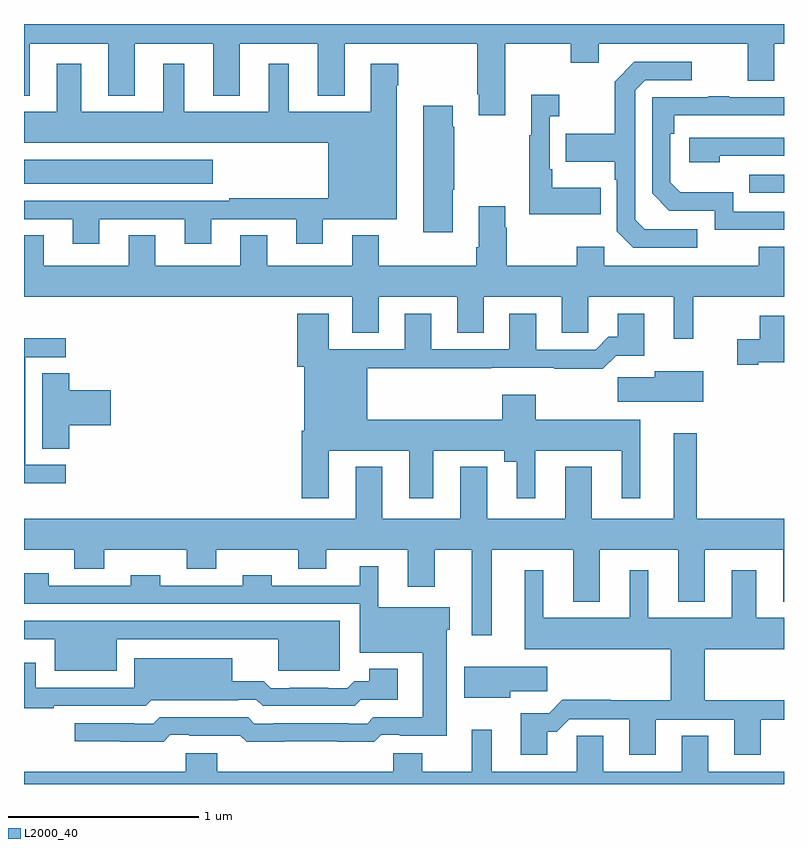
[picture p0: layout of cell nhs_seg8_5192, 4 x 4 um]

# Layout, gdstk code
import gdstk
lib = gdstk.Library(unit=1e-6, precision=1e-09)
def R(c, l, rs):  # rectangles x0, y0, x1, y1
    for r in rs: c.add(gdstk.rectangle(r[:2], r[2:], *l))
def P(c, l, *ps):  # polygons
    for p in ps: c.add(gdstk.Polygon(p, *l))
L2000_40 = (2000, 40)

nhs_seg8_5192 = lib.new_cell('nhs_seg8_5192')
R(nhs_seg8_5192, L2000_40, [(426.817,1153.011,427,1153.107), (423,1153.058,423.994,1153.186)])
P(nhs_seg8_5192, L2000_40, [(426.809,1153.602),(426.949,1153.602),(426.949,1153.796),(427,1153.796),(427,1153.9),(423,1153.9),(423,1153.523),(423.031,1153.523),(423.031,1153.796),(423.443,1153.796),(423.443,1153.523),(423.583,1153.523),(423.583,1153.796),(423.995,1153.796),(423.995,1153.523),(424.135,1153.523),(424.135,1153.796),(424.547,1153.796),(424.547,1153.523),(424.687,1153.523),(424.687,1153.796),(425.386,1153.796),(425.386,1153.531),(425.393,1153.531),(425.393,1153.419),(425.533,1153.419),(425.533,1153.796),(425.878,1153.796),(425.878,1153.697),(426.025,1153.697),(426.025,1153.796),(426.809,1153.796)],
  [(426.544,1152.819),(426.267,1152.819),(426.216,1152.87),(426.216,1153.551),(426.27,1153.605),(426.514,1153.605),(426.514,1153.701),(426.213,1153.701),(426.108,1153.595),(426.108,1153.323),(425.851,1153.323),(425.851,1153.175),(426.108,1153.175),(426.108,1153.079),(426.12,1153.079),(426.12,1152.81),(426.207,1152.723),(426.544,1152.723)],
  [(423.397,1152.873),(423.845,1152.873),(423.845,1152.744),(423.985,1152.744),(423.985,1152.873),(424.433,1152.873),(424.433,1152.744),(424.573,1152.744),(424.573,1152.872),(424.963,1152.872),(424.963,1153.577),(424.971,1153.577),(424.971,1153.69),(424.826,1153.69),(424.826,1153.438),(424.393,1153.438),(424.393,1153.69),(424.289,1153.69),(424.289,1153.438),(423.844,1153.438),(423.844,1153.69),(423.734,1153.69),(423.734,1153.438),(423.301,1153.438),(423.301,1153.69),(423.173,1153.69),(423.173,1153.438),(423,1153.438),(423,1153.274),(424.601,1153.274),(424.601,1152.982),(424.081,1152.982),(424.081,1152.969),(423,1152.969),(423,1152.873),(423.257,1152.873),(423.257,1152.744),(423.397,1152.744)],
  [(426.035,1153.039),(425.779,1153.039),(425.779,1153.135),(425.766,1153.135),(425.766,1153.415),(425.818,1153.415),(425.818,1153.528),(425.669,1153.528),(425.669,1153.315),(425.658,1153.315),(425.658,1152.899),(426.035,1152.899)],
  [(427,1152.912),(426.732,1152.912),(426.732,1153.015),(426.455,1153.015),(426.402,1153.068),(426.402,1153.322),(426.422,1153.322),(426.422,1153.419),(427,1153.419),(427,1153.515),(426.713,1153.515),(426.713,1153.52),(426.601,1153.52),(426.601,1153.515),(426.306,1153.515),(426.306,1153.008),(426.396,1152.918),(426.636,1152.918),(426.636,1152.816),(427,1152.816)],
  [(425.257,1153.027),(425.265,1153.027),(425.265,1153.358),(425.257,1153.358),(425.257,1153.471),(425.102,1153.471),(425.102,1152.804),(425.257,1152.804)],
  [(426.662,1153.206),(427,1153.206),(427,1153.302),(426.501,1153.302),(426.501,1153.172),(426.662,1153.172)],
  [(426.523,1152.464),(427,1152.464),(427,1152.727),(426.868,1152.727),(426.868,1152.628),(426.054,1152.628),(426.054,1152.727),(425.908,1152.727),(425.908,1152.628),(425.541,1152.628),(425.541,1152.827),(425.533,1152.827),(425.533,1152.94),(425.393,1152.94),(425.393,1152.724),(425.381,1152.724),(425.381,1152.628),(424.867,1152.628),(424.867,1152.787),(424.727,1152.787),(424.727,1152.628),(424.279,1152.628),(424.279,1152.788),(424.139,1152.788),(424.139,1152.628),(423.691,1152.628),(423.691,1152.788),(423.551,1152.788),(423.551,1152.628),(423.103,1152.628),(423.103,1152.788),(423,1152.788),(423,1152.464),(424.727,1152.464),(424.727,1152.274),(424.867,1152.274),(424.867,1152.464),(425.279,1152.464),(425.279,1152.274),(425.419,1152.274),(425.419,1152.464),(425.831,1152.464),(425.831,1152.274),(425.97,1152.274),(425.97,1152.464),(426.419,1152.464),(426.419,1152.243),(426.523,1152.243)],
  [(424.603,1151.654),(425.027,1151.654),(425.027,1151.403),(425.155,1151.403),(425.155,1151.654),(425.528,1151.654),(425.528,1151.597),(425.594,1151.597),(425.594,1151.403),(425.692,1151.403),(425.692,1151.654),(426.146,1151.654),(426.146,1151.403),(426.244,1151.403),(426.244,1151.818),(425.694,1151.818),(425.694,1151.95),(425.516,1151.95),(425.516,1151.818),(424.807,1151.818),(424.807,1152.088),(425.459,1152.088),(425.459,1152.092),(425.791,1152.092),(425.791,1152.086),(426.047,1152.086),(426.116,1152.155),(426.265,1152.155),(426.265,1152.376),(426.125,1152.376),(426.125,1152.253),(426.076,1152.253),(426.009,1152.186),(425.695,1152.186),(425.695,1152.376),(425.555,1152.376),(425.555,1152.189),(425.143,1152.189),(425.143,1152.376),(425.003,1152.376),(425.003,1152.189),(424.603,1152.189),(424.603,1152.376),(424.439,1152.376),(424.439,1152.096),(424.475,1152.096),(424.475,1151.758),(424.463,1151.758),(424.463,1151.403),(424.603,1151.403)],
  [(426.865,1152.119),(427,1152.119),(427,1152.364),(426.872,1152.364),(426.872,1152.241),(426.753,1152.241),(426.753,1152.107),(426.865,1152.107)],
  [(423.22,1151.58),(423.006,1151.58),(423.006,1152.147),(423.22,1152.147),(423.22,1152.246),(423,1152.246),(423,1151.484),(423.22,1151.484)],
  [(426.574,1152.073),(426.32,1152.073),(426.32,1152.041),(426.126,1152.041),(426.126,1151.912),(426.574,1151.912)],
  [(423.239,1151.789),(423.457,1151.789),(423.457,1151.972),(423.239,1151.972),(423.239,1152.062),(423.095,1152.062),(423.095,1151.665),(423.239,1151.665)],
  [(425.461,1151.132),(425.891,1151.132),(425.891,1150.859),(426.031,1150.859),(426.031,1151.132),(426.443,1151.132),(426.443,1150.859),(426.583,1150.859),(426.583,1151.132),(426.995,1151.132),(426.995,1150.859),(427,1150.859),(427,1151.296),(426.541,1151.296),(426.541,1151.746),(426.419,1151.746),(426.419,1151.296),(425.989,1151.296),(425.989,1151.569),(425.849,1151.569),(425.849,1151.296),(425.437,1151.296),(425.437,1151.569),(425.297,1151.569),(425.297,1151.296),(424.885,1151.296),(424.885,1151.569),(424.745,1151.569),(424.745,1151.296),(423,1151.296),(423,1151.132),(423.265,1151.132),(423.265,1151.033),(423.423,1151.033),(423.423,1151.132),(423.856,1151.132),(423.856,1151.033),(424.011,1151.033),(424.011,1151.132),(424.444,1151.132),(424.444,1151.033),(424.591,1151.033),(424.591,1151.132),(425.021,1151.132),(425.021,1150.938),(425.161,1150.938),(425.161,1151.132),(425.357,1151.132),(425.357,1150.683),(425.461,1150.683)],
  [(423.771,1150.158),(423.871,1150.158),(423.871,1150.154),(424.139,1150.154),(424.172,1150.122),(424.37,1150.122),(424.37,1150.124),(424.648,1150.124),(424.648,1150.122),(424.843,1150.122),(424.879,1150.158),(424.978,1150.158),(424.978,1150.155),(425.224,1150.155),(425.224,1150.713),(425.242,1150.713),(425.242,1150.831),(424.864,1150.831),(424.864,1151.047),(424.766,1151.047),(424.766,1150.944),(424.305,1150.944),(424.305,1150.999),(424.15,1150.999),(424.15,1150.944),(423.717,1150.944),(423.717,1150.999),(423.562,1150.999),(423.562,1150.944),(423.129,1150.944),(423.129,1151.008),(423,1151.008),(423,1150.848),(424.766,1150.848),(424.766,1150.592),(425.099,1150.592),(425.099,1150.251),(424.839,1150.251),(424.806,1150.218),(424.706,1150.218),(424.706,1150.221),(424.312,1150.221),(424.312,1150.218),(424.212,1150.218),(424.179,1150.251),(423.714,1150.251),(423.681,1150.218),(423.581,1150.218),(423.581,1150.221),(423.267,1150.221),(423.267,1150.124),(423.51,1150.124),(423.51,1150.122),(423.735,1150.122)],
  [(425.755,1150.175),(425.804,1150.175),(425.871,1150.242),(426.185,1150.242),(426.185,1150.053),(426.325,1150.053),(426.325,1150.239),(426.737,1150.239),(426.737,1150.053),(426.877,1150.053),(426.877,1150.239),(427,1150.239),(427,1150.34),(426.582,1150.34),(426.582,1150.61),(427,1150.61),(427,1150.774),(426.853,1150.774),(426.853,1151.026),(426.725,1151.026),(426.725,1150.774),(426.286,1150.774),(426.286,1151.026),(426.188,1151.026),(426.188,1150.774),(425.734,1150.774),(425.734,1151.026),(425.636,1151.026),(425.636,1150.61),(426.404,1150.61),(426.404,1150.34),(426.089,1150.34),(426.089,1150.343),(425.834,1150.343),(425.764,1150.273),(425.615,1150.273),(425.615,1150.053),(425.755,1150.053)],
  [(423.487,1150.662),(424.337,1150.662),(424.337,1150.496),(424.663,1150.496),(424.663,1150.759),(424.441,1150.759),(424.441,1150.758),(423,1150.758),(423,1150.662),(423.161,1150.662),(423.161,1150.496),(423.487,1150.496)],
  [(423.157,1150.311),(423.64,1150.311),(423.669,1150.34),(424.127,1150.34),(424.127,1150.344),(424.223,1150.344),(424.256,1150.311),(424.74,1150.311),(424.773,1150.344),(424.966,1150.344),(424.966,1150.507),(424.817,1150.507),(424.817,1150.441),(424.738,1150.441),(424.701,1150.404),(424.601,1150.404),(424.601,1150.407),(424.399,1150.407),(424.399,1150.404),(424.299,1150.404),(424.261,1150.442),(424.096,1150.442),(424.096,1150.561),(423.579,1150.561),(423.579,1150.407),(423.061,1150.407),(423.061,1150.537),(423,1150.537),(423,1150.299),(423.157,1150.299)],
  [(425.56,1150.387),(425.755,1150.387),(425.755,1150.516),(425.316,1150.516),(425.316,1150.355),(425.56,1150.355)],
  [(425.91,1150.154),(425.91,1149.964),(425.461,1149.964),(425.461,1150.186),(425.357,1150.186),(425.357,1149.964),(425.095,1149.964),(425.095,1150.063),(424.943,1150.063),(424.943,1149.964),(424.016,1149.964),(424.016,1150.063),(423.851,1150.063),(423.851,1149.964),(423,1149.964),(423,1149.9),(427,1149.9),(427,1149.964),(426.601,1149.964),(426.601,1150.154),(426.461,1150.154),(426.461,1149.964),(426.049,1149.964),(426.049,1150.154)])

lib.write_gds('nhs_seg8_5192.gds')
